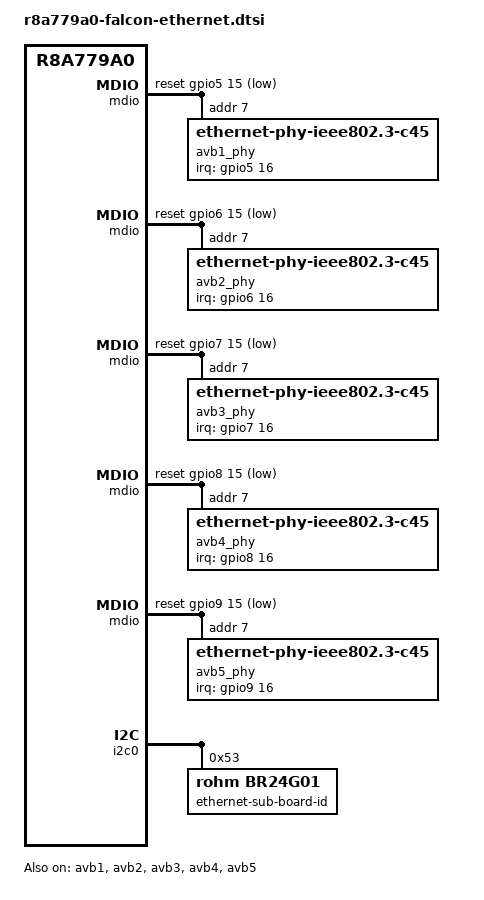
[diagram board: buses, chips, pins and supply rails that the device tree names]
// SPDX-License-Identifier: GPL-2.0
/*
 * Device Tree Source for the Falcon Ethernet sub-board
 *
 * Copyright (C) 2021 Glider bv
 */

/ {
	aliases {
		ethernet1 = &avb1;
		ethernet2 = &avb2;
		ethernet3 = &avb3;
		ethernet4 = &avb4;
		ethernet5 = &avb5;
	};
};

&avb1 {
	pinctrl-0 = <&avb1_pins>;
	pinctrl-names = "default";
	phy-handle = <&avb1_phy>;
	status = "okay";

	mdio {
		#address-cells = <1>;
		#size-cells = <0>;

		reset-gpios = <&gpio5 15 GPIO_ACTIVE_LOW>;
		reset-post-delay-us = <4000>;

		avb1_phy: ethernet-phy@7 {
			compatible = "ethernet-phy-ieee802.3-c45";
			reg = <7>;
			interrupts-extended = <&gpio5 16 IRQ_TYPE_LEVEL_LOW>;
		};
	};
};

&avb2 {
	pinctrl-0 = <&avb2_pins>;
	pinctrl-names = "default";
	phy-handle = <&avb2_phy>;
	status = "okay";

	mdio {
		#address-cells = <1>;
		#size-cells = <0>;

		reset-gpios = <&gpio6 15 GPIO_ACTIVE_LOW>;
		reset-post-delay-us = <4000>;

		avb2_phy: ethernet-phy@7 {
			compatible = "ethernet-phy-ieee802.3-c45";
			reg = <7>;
			interrupts-extended = <&gpio6 16 IRQ_TYPE_LEVEL_LOW>;
		};
	};
};

&avb3 {
	pinctrl-0 = <&avb3_pins>;
	pinctrl-names = "default";
	phy-handle = <&avb3_phy>;
	status = "okay";

	mdio {
		#address-cells = <1>;
		#size-cells = <0>;

		reset-gpios = <&gpio7 15 GPIO_ACTIVE_LOW>;
		reset-post-delay-us = <4000>;

		avb3_phy: ethernet-phy@7 {
			compatible = "ethernet-phy-ieee802.3-c45";
			reg = <7>;
			interrupts-extended = <&gpio7 16 IRQ_TYPE_LEVEL_LOW>;
		};
	};
};

&avb4 {
	pinctrl-0 = <&avb4_pins>;
	pinctrl-names = "default";
	phy-handle = <&avb4_phy>;
	status = "okay";

	mdio {
		#address-cells = <1>;
		#size-cells = <0>;

		reset-gpios = <&gpio8 15 GPIO_ACTIVE_LOW>;
		reset-post-delay-us = <4000>;

		avb4_phy: ethernet-phy@7 {
			compatible = "ethernet-phy-ieee802.3-c45";
			reg = <7>;
			interrupts-extended = <&gpio8 16 IRQ_TYPE_LEVEL_LOW>;
		};
	};
};

&avb5 {
	pinctrl-0 = <&avb5_pins>;
	pinctrl-names = "default";
	phy-handle = <&avb5_phy>;
	status = "okay";

	mdio {
		#address-cells = <1>;
		#size-cells = <0>;

		reset-gpios = <&gpio9 15 GPIO_ACTIVE_LOW>;
		reset-post-delay-us = <4000>;

		avb5_phy: ethernet-phy@7 {
			compatible = "ethernet-phy-ieee802.3-c45";
			reg = <7>;
			interrupts-extended = <&gpio9 16 IRQ_TYPE_LEVEL_LOW>;
		};
	};
};

&i2c0 {
	eeprom@53 {
		compatible = "rohm,br24g01", "atmel,24c01";
		label = "ethernet-sub-board-id";
		reg = <0x53>;
		pagesize = <8>;
	};
};

&pfc {
	avb1_pins: avb1 {
		mux {
			groups = "avb1_link", "avb1_mdio", "avb1_rgmii",
				 "avb1_txcrefclk";
			function = "avb1";
		};

		link {
			groups = "avb1_link";
			bias-disable;
		};

		mdio {
			groups = "avb1_mdio";
			drive-strength = <24>;
			bias-disable;
		};

		rgmii {
			groups = "avb1_rgmii";
			drive-strength = <24>;
			bias-disable;
		};
	};

	avb2_pins: avb2 {
		mux {
			groups = "avb2_link", "avb2_mdio", "avb2_rgmii",
				 "avb2_txcrefclk";
			function = "avb2";
		};

		link {
			groups = "avb2_link";
			bias-disable;
		};

		mdio {
			groups = "avb2_mdio";
			drive-strength = <24>;
			bias-disable;
		};

		rgmii {
			groups = "avb2_rgmii";
			drive-strength = <24>;
			bias-disable;
		};
	};

	avb3_pins: avb3 {
		mux {
			groups = "avb3_link", "avb3_mdio", "avb3_rgmii",
				 "avb3_txcrefclk";
			function = "avb3";
		};

		link {
			groups = "avb3_link";
			bias-disable;
		};

		mdio {
			groups = "avb3_mdio";
			drive-strength = <24>;
			bias-disable;
		};

		rgmii {
			groups = "avb3_rgmii";
			drive-strength = <24>;
			bias-disable;
		};
	};

	avb4_pins: avb4 {
		mux {
			groups = "avb4_link", "avb4_mdio", "avb4_rgmii",
				 "avb4_txcrefclk";
			function = "avb4";
		};

		link {
			groups = "avb4_link";
			bias-disable;
		};

		mdio {
			groups = "avb4_mdio";
			drive-strength = <24>;
			bias-disable;
		};

		rgmii {
			groups = "avb4_rgmii";
			drive-strength = <24>;
			bias-disable;
		};
	};

	avb5_pins: avb5 {
		mux {
			groups = "avb5_link", "avb5_mdio", "avb5_rgmii",
				 "avb5_txcrefclk";
			function = "avb5";
		};

		link {
			groups = "avb5_link";
			bias-disable;
		};

		mdio {
			groups = "avb5_mdio";
			drive-strength = <24>;
			bias-disable;
		};

		rgmii {
			groups = "avb5_rgmii";
			drive-strength = <24>;
			bias-disable;
		};
	};
};
